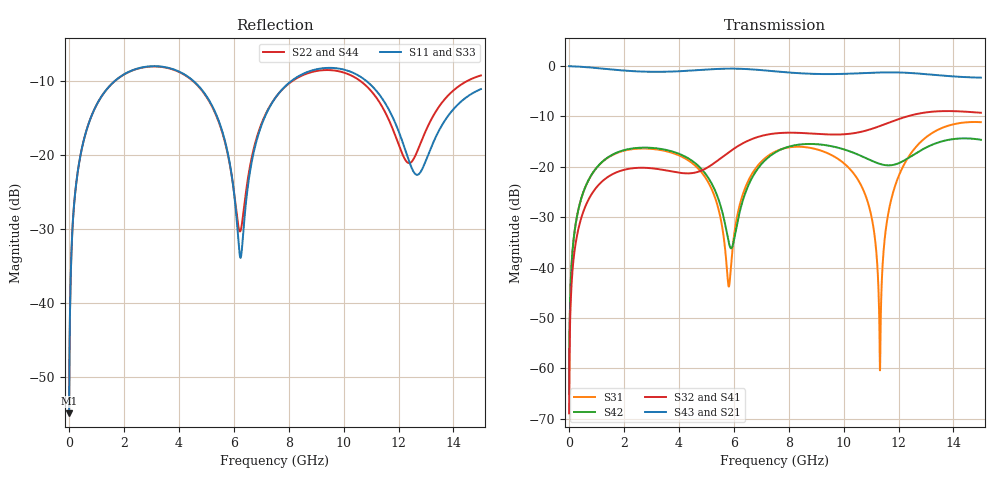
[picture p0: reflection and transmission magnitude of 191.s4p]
! Created with skrf 1.8.0 (http://scikit-rf.org).
# GHz S RI R 50.0
!freq ReS11 ImS11 ReS12 ImS12 ReS13 ImS13
! ReS14 ImS14
! ReS21 ImS21 ReS22 ImS22 ReS23 ImS23
! ReS24 ImS24
! ReS31 ImS31 ReS32 ImS32 ReS33 ImS33
! ReS34 ImS34
! ReS41 ImS41 ReS42 ImS42 ReS43 ImS43
! ReS44 ImS44
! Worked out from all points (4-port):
!   2499 points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, 5 MHz to 15 GHz, reference 50 ohm
!   strongest paths, dB at 5 MHz, 3.476 GHz, 7.19 GHz, 11.1 GHz, 15 GHz:
!     S43: 0.0, -1.1, -0.9, -1.3, -2.3
!     S21: 0.0, -1.1, -0.9, -1.3, -2.3
!     S32: -68.9, -20.6, -13.6, -12.3, -9.3
!     S41: -68.9, -20.7, -13.7, -12.3, -9.4
!     S42: -65.0, -16.6, -18.4, -19.0, -14.6
!     S31: -65.0, -16.8, -18.1, -32.4, -11.1
!   lowest |S11| = -54.8 dB at 5 MHz (marker M1), VSWR 1.00, Z = 50.1 + j0.11 ohm
!   |S11| at or under -10 dB: start of sweep to 1.683 GHz; 4.518 GHz to 8.115 GHz (3.598 GHz wide, 57 % of centre); 10.81 GHz to end of sweep
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0.005  0.00144 0.0011  0.9985 -0.00281  7.12e-05 0.000557  -6.94e-05 -0.000351
       0.9985 -0.00281  0.00144 0.0011  -6.94e-05 -0.000351  7.13e-05 0.000557
       7.12e-05 0.000557  -6.94e-05 -0.000351  0.00144 0.0011  0.9985 -0.00281
       -6.94e-05 -0.000351  7.13e-05 0.000557  0.9985 -0.00281  0.00144 0.0011
0.3126303  0.0194 0.0729  0.9737 -0.1754  0.00835 0.0335  -0.00709 -0.021
           0.9737 -0.1754  0.0193 0.073  -0.0071 -0.021  0.00862 0.0335
           0.00835 0.0335  -0.0071 -0.021  0.0193 0.073  0.9737 -0.1754
           -0.00709 -0.021  0.00862 0.0335  0.9737 -0.1754  0.0193 0.073
1.569404  0.2357 0.1898  0.6228 -0.6835  0.1097 0.0706  -0.0821 -0.0178
          0.6228 -0.6835  0.2343 0.1906  -0.0822 -0.0176  0.1137 0.0661
          0.1097 0.0706  -0.0822 -0.0176  0.2356 0.1899  0.6228 -0.6835
          -0.0821 -0.0178  0.1137 0.0661  0.6228 -0.6835  0.2344 0.1905
6.277616  0.0206 0.00575  -0.9388 -0.0383  0.0169 0.0449  -0.00416 0.1681
          -0.9388 -0.0383  0.031 0.00951  0.000623 0.1682  -0.00203 0.0413
          0.0169 0.0449  0.000623 0.1682  0.0217 0.006  -0.9388 -0.0384
          -0.00416 0.1681  -0.00203 0.0413  -0.9388 -0.0384  0.0297 0.0101
9.979158  0.3675 -0.0816  0.1312 0.8264  0.0898 -0.0641  0.1952 -0.072
          0.1312 0.8264  0.3528 -0.0705  0.1935 -0.0823  0.077 -0.1288
          0.0898 -0.0641  0.1935 -0.0823  0.3658 -0.0797  0.1308 0.8268
          0.1952 -0.072  0.077 -0.1288  0.1308 0.8268  0.3526 -0.0724
11.32347  0.1848 -0.1709  0.6273 0.5935  -0.000776 -0.000557  0.1753 -0.184
          0.6273 0.5935  0.1764 -0.1373  0.1649 -0.1935  -0.0771 -0.0741
          -0.000776 -0.000557  0.1649 -0.1935  0.1847 -0.1682  0.6275 0.594
          0.1753 -0.184  -0.0771 -0.0741  0.6275 0.594  0.1726 -0.138
15  0.2699 0.0635  0.3858 -0.6658  0.2669 -0.0766  -0.322 -0.1055
    0.3858 -0.6658  0.3388 0.0518  -0.3334 -0.0864  0.1821 0.0362
    0.2669 -0.0766  -0.3334 -0.0864  0.2647 0.0699  0.3861 -0.6642
    -0.322 -0.1055  0.1821 0.0362  0.3861 -0.6642  0.3477 0.0528
